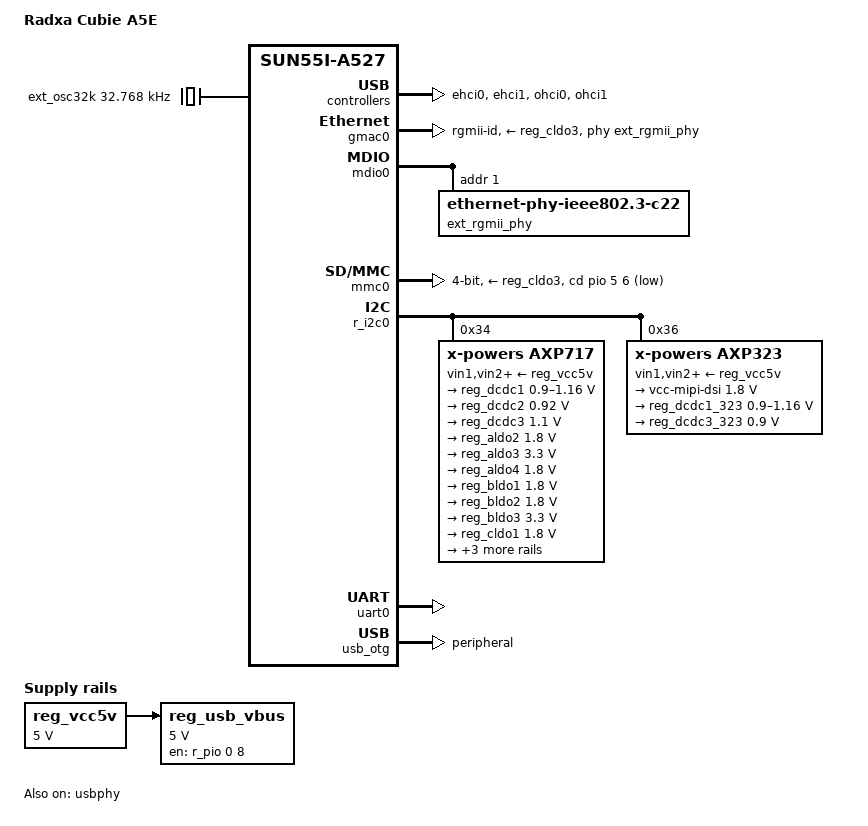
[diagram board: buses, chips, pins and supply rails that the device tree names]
// SPDX-License-Identifier: (GPL-2.0-only OR MIT)
// Copyright (C) 2025 Arm Ltd.

/dts-v1/;

#include "sun55i-a523.dtsi"

#include <dt-bindings/gpio/gpio.h>

/ {
	model = "Radxa Cubie A5E";
	compatible = "radxa,cubie-a5e", "allwinner,sun55i-a527";

	aliases {
		ethernet0 = &gmac0;
		serial0 = &uart0;
	};

	chosen {
		stdout-path = "serial0:115200n8";
	};

	ext_osc32k: ext-osc32k-clk {
		#clock-cells = <0>;
		compatible = "fixed-clock";
		clock-frequency = <32768>;
		clock-output-names = "ext_osc32k";
	};

	reg_vcc5v: vcc5v {
		/* board wide 5V supply from the USB-C connector */
		compatible = "regulator-fixed";
		regulator-name = "vcc-5v";
		regulator-min-microvolt = <5000000>;
		regulator-max-microvolt = <5000000>;
		regulator-always-on;
	};

	reg_usb_vbus: vbus {
		compatible = "regulator-fixed";
		regulator-name = "usb-vbus";
		regulator-min-microvolt = <5000000>;
		regulator-max-microvolt = <5000000>;
		vin-supply = <&reg_vcc5v>;
		gpio = <&r_pio 0 8 GPIO_ACTIVE_HIGH>;	/* PL8 */
		enable-active-high;
	};
};

&ehci0 {
	status = "okay";
};

&ehci1 {
	status = "okay";
};

&gmac0 {
	phy-mode = "rgmii-id";
	phy-handle = <&ext_rgmii_phy>;
	phy-supply = <&reg_cldo3>;

	allwinner,tx-delay-ps = <300>;
	allwinner,rx-delay-ps = <400>;

	status = "okay";
};

&mdio0 {
	ext_rgmii_phy: ethernet-phy@1 {
		compatible = "ethernet-phy-ieee802.3-c22";
		reg = <1>;
	};
};

&mmc0 {
	vmmc-supply = <&reg_cldo3>;
	cd-gpios = <&pio 5 6 (GPIO_ACTIVE_LOW | GPIO_PULL_UP)>; /* PF6 */
	bus-width = <4>;
	status = "okay";
};

&ohci0 {
	status = "okay";
};

&ohci1 {
	status = "okay";
};

&pio {
	vcc-pb-supply = <&reg_cldo3>;	/* via VCC-IO */
	vcc-pc-supply = <&reg_cldo1>;
	vcc-pd-supply = <&reg_cldo3>;
	vcc-pe-supply = <&reg_aldo2>;
	vcc-pf-supply = <&reg_cldo3>;	/* actually switchable */
	vcc-pg-supply = <&reg_bldo1>;
	vcc-ph-supply = <&reg_cldo3>;	/* via VCC-IO */
	vcc-pi-supply = <&reg_cldo3>;
	vcc-pj-supply = <&reg_cldo4>;
	vcc-pk-supply = <&reg_cldo1>;
};

&r_i2c0 {
	status = "okay";

	axp717: pmic@34 {
		compatible = "x-powers,axp717";
		reg = <0x34>;
		interrupt-controller;
		#interrupt-cells = <1>;
		interrupt-parent = <&nmi_intc>;
		interrupts = <0 IRQ_TYPE_LEVEL_LOW>;

		vin1-supply = <&reg_vcc5v>;
		vin2-supply = <&reg_vcc5v>;
		vin3-supply = <&reg_vcc5v>;
		vin4-supply = <&reg_vcc5v>;
		aldoin-supply = <&reg_vcc5v>;
		bldoin-supply = <&reg_vcc5v>;
		cldoin-supply = <&reg_vcc5v>;

		regulators {
			/* Supplies the "little" cluster (1.4 GHz cores) */
			reg_dcdc1: dcdc1 {
				regulator-always-on;
				regulator-min-microvolt = <900000>;
				regulator-max-microvolt = <1160000>;
				regulator-name = "vdd-cpul";
			};

			reg_dcdc2: dcdc2 {
				regulator-always-on;
				regulator-min-microvolt = <920000>;
				regulator-max-microvolt = <920000>;
				regulator-name = "vdd-gpu-sys";
			};

			reg_dcdc3: dcdc3 {
				regulator-always-on;
				regulator-min-microvolt = <1100000>;
				regulator-max-microvolt = <1100000>;
				regulator-name = "vdd-dram";
			};

			reg_aldo1: aldo1 {
				/* not connected */
			};

			reg_aldo2: aldo2 {
				regulator-min-microvolt = <1800000>;
				regulator-max-microvolt = <1800000>;
				regulator-name = "vcc-pe";
			};

			reg_aldo3: aldo3 {
				/* supplies the I2C pins for this PMIC */
				regulator-always-on;
				regulator-min-microvolt = <3300000>;
				regulator-max-microvolt = <3300000>;
				regulator-name = "vcc-pl-usb";
			};

			reg_aldo4: aldo4 {
				regulator-always-on;
				regulator-min-microvolt = <1800000>;
				regulator-max-microvolt = <1800000>;
				regulator-name = "vcc-pll-dxco-avcc";
			};

			reg_bldo1: bldo1 {
				regulator-min-microvolt = <1800000>;
				regulator-max-microvolt = <1800000>;
				regulator-name = "vcc-pg-iowifi";
			};

			reg_bldo2: bldo2 {
				regulator-always-on;
				regulator-min-microvolt = <1800000>;
				regulator-max-microvolt = <1800000>;
				regulator-name = "vcc-pm-lpddr4";
			};

			reg_bldo3: bldo3 {
				regulator-min-microvolt = <3300000>;
				regulator-max-microvolt = <3300000>;
				regulator-name = "vcc-mipi-cam";
			};

			reg_bldo4: bldo4 {
				/* not connected */
			};

			reg_cldo1: cldo1 {
				regulator-min-microvolt = <1800000>;
				regulator-max-microvolt = <1800000>;
				regulator-name = "vcc-pc-and-their-dog";
			};

			reg_cldo2: cldo2 {
				/* not connected */
			};

			reg_cldo3: cldo3 {
				/* IO, USB-2, 3V3, card, NAND, sensor, PI */
				regulator-always-on;
				regulator-min-microvolt = <3300000>;
				regulator-max-microvolt = <3300000>;
				regulator-name = "vcc-io-mmc-spi-ana";
			};

			reg_cldo4: cldo4 {
				regulator-min-microvolt = <3300000>;
				regulator-max-microvolt = <3300000>;
				regulator-name = "vcc-pj-phy";
			};

			reg_cpusldo: cpusldo {
				/* supplies the management core */
				regulator-always-on;
				regulator-min-microvolt = <900000>;
				regulator-max-microvolt = <900000>;
				regulator-name = "vdd-cpus";
			};
		};
	};

	axp323: pmic@36 {
		compatible = "x-powers,axp323";
		reg = <0x36>;
		#interrupt-cells = <1>;
		interrupt-controller;
		interrupt-parent = <&nmi_intc>;
		interrupts = <0 IRQ_TYPE_LEVEL_LOW>;
		status = "okay";

		vin1-supply = <&reg_vcc5v>;
		vin2-supply = <&reg_vcc5v>;
		vin3-supply = <&reg_vcc5v>;

		regulators {
			aldo1 {
				regulator-min-microvolt = <1800000>;
				regulator-max-microvolt = <1800000>;
				regulator-name = "vcc-mipi-dsi";
			};

			dldo1 {
				/* not connected */
			};

			/* Supplies the "big" cluster (1.8 GHz cores) */
			reg_dcdc1_323: dcdc1 {
				regulator-always-on;
				regulator-min-microvolt = <900000>;
				regulator-max-microvolt = <1160000>;
				regulator-name = "vdd-cpub";
			};

			/* DCDC2 is polyphased with DCDC1 */

			/* RISC-V management core supply */
			reg_dcdc3_323: dcdc3 {
				regulator-always-on;
				regulator-min-microvolt = <900000>;
				regulator-max-microvolt = <900000>;
				regulator-name = "vdd-dnr";
			};
		};
	};
};

&r_pio {
/*
 * Specifying the supply would create a circular dependency.
 *
 *	vcc-pl-supply = <&reg_aldo3>;
 */
	vcc-pm-supply = <&reg_aldo3>;
};

&uart0 {
	pinctrl-names = "default";
	pinctrl-0 = <&uart0_pb_pins>;
	status = "okay";
};

&usb_otg {
	/*
	 * The USB-C port is the primary power supply, so in this configuration
	 * relies on the other end of the USB cable to supply the VBUS power.
	 * So use this port in peripheral mode.
	 * It is possible to supply the board with the 5V pins on the GPIO
	 * header, and since the DCIN_5V line is hardwired to the USB-C VBUS
	 * pins, the port turns into a host port, unconditionally supplying
	 * power. The dr_mode property should be changed to "host" here, if
	 * users choose this setup.
	 */
	dr_mode = "peripheral";
	status = "okay";
};

/*
 * The schematic describes USB0_ID (PL10), measuring VBUS_5V, which looks to
 * be always on. Also there is USB-VBUSDET (PL2), which is measuring the same
 * VBUS_5V. There is also DCIN_DET, which measures DCIN_5V, so the power
 * input rail.
 * None of them seem to make any sense in relation to detecting USB devices
 * or whether there is power provided via any USB pins: they would always
 * report high, otherwise the system wouldn't be running.
 * The AXP717C provides proper USB-C CC pin functionality, but the PMIC is
 * not connected to those pins of the USB-C connector.
 */
&usbphy {
	usb0_vbus-supply = <&reg_vcc5v>;
	usb1_vbus-supply = <&reg_usb_vbus>;
	status = "okay";
};
